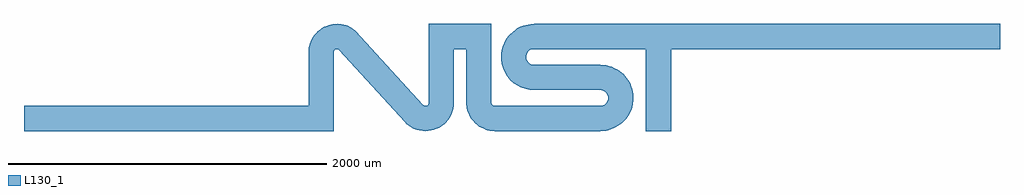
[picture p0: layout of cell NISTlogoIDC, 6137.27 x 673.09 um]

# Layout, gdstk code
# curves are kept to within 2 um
import gdstk
lib = gdstk.Library(unit=1e-6, precision=1e-09)
def R(c, l, rs):  # rectangles x0, y0, x1, y1
    for r in rs: c.add(gdstk.rectangle(r[:2], r[2:], *l))
def P(c, l, *ps):  # polygons
    for p in ps: c.add(gdstk.Polygon(p, *l))
L130_1 = (130, 1)

nistlogoidc = lib.new_cell('NISTlogoIDC')
R(nistlogoidc, L130_1, [(-3068.634,-336.042,-2068.634,-178.026), (-2068.634,-336.042,-1278.554,-178.026), (-107.515,-336.042,556.492,-178.026), (842.565,-336.042,1000.581,179.104), (-524.475,-162.027,-366.459,337.045), (-287.455,-157.942,-129.438,337.045), (140.513,-77.998,554.575,80.018), (-366.459,179.029,-287.455,337.045), (138.577,179.029,1278.554,337.045), (1278.554,179.029,2068.634,337.045), (2068.634,179.029,3068.634,337.045)])
P(nistlogoidc, L130_1, [(-1278.554,-336.042),(-1278.554,190.383),(-1275.944,190.383),(-1272.248,208.976),(-1252.312,253.539),(-1220.414,291.3),(-1181.246,318.272),(-1153.805,329.53),(-1126.832,335.394),(-1074.295,335.863),(-1042.583,329.093),(-1016.105,317.385),(-983.321,292.887),(-556.057,-175.081),(-548.827,-178.438),(-534.108,-177.017),(-528.685,-173.144),(-524.475,-162.027),(-366.459,-162.027),(-369.862,-197.405),(-385.114,-239.602),(-413.821,-280.306),(-443.706,-305.174),(-475.336,-322.407),(-525.071,-335.713),(-583.322,-332.546),(-618.224,-320.679),(-646.565,-303.368),(-675.847,-278.343),(-1084.943,171.121),(-1095.349,176.861),(-1107.069,176.861),(-1118.213,169.08),(-1120.538,159.078),(-1120.538,-336.042)],
  [(556.492,-335.966),(556.492,-178.032),(572.25,-175.047),(589.721,-164.296),(600.473,-149.68),(605.009,-135.569),(603.329,-113.058),(593.921,-96.091),(579.723,-84.635),(554.575,-77.998),(554.575,80.018),(610.603,72.456),(643.599,60.194),(674.828,41.663),(711.926,9.274),(738.929,-30.32),(755.872,-71.877),(762.828,-106.121),(763.541,-143.396),(754.659,-187.7),(740.638,-223.435),(718.174,-257.843),(693.765,-283.677),(666.37,-304.086),(636.098,-319.838),(592.266,-332.796)],
  [(-107.515,-335.966),(-145.43,-332.005),(-175.34,-322.975),(-204.707,-307.922),(-231.514,-286.992),(-261.478,-250.004),(-275.505,-220.961),(-283.547,-192.804),(-287.455,-157.942),(-129.438,-157.942),(-122.843,-171.815),(-107.515,-178.032)],
  [(140.513,-77.998),(112.713,-76.843),(86.003,-71.638),(54.049,-60.997),(10.709,-34.511),(-10.158,-15.517),(-29.957,8.293),(-46.757,36.598),(-65.057,86.68),(-68.909,113.968),(-68.267,148.961),(-59.411,192.314),(-38.475,238.081),(-10.993,274.037),(23.422,302.288),(52.953,318.748),(101.081,333.541),(138.577,337.045),(138.577,179.029),(115.78,174.119),(100.367,161.163),(91.879,145.639),(89.198,124.083),(95.297,104.94),(108.029,89.93),(123.978,81.62),(140.513,80.018)])

lib.write_gds('NISTlogoIDC.gds')
